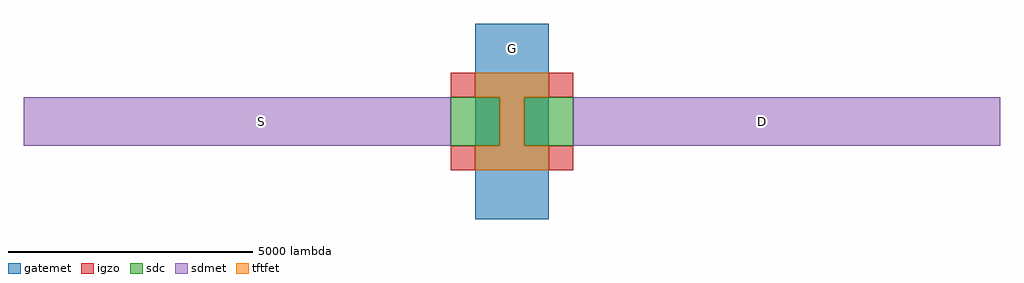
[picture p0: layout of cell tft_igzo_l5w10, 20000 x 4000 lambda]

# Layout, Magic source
magic
tech igzo_mmm_lab
<< igzo >>
rect -1250 500 -750 1000
rect 750 500 1250 1000
rect -1250 -1000 -750 -500
rect 750 -1000 1250 -500
<< tftfet >>
rect -750 500 750 1000
rect -250 -500 250 500
rect -750 -1000 750 -500
<< sdc >>
rect -1250 -500 -250 500
rect 250 -500 1250 500
<< sdmet >>
rect -10000 -500 -1250 500
rect 1250 -500 10000 500
<< gatemet >>
rect -750 -2000 750 2000
<< labels >>
rlabel sdmet s -5175 -50 -5075 50 4 S
port 3 nsew
rlabel sdmet s 5075 -50 5175 50 4 D
port 5 nsew
rlabel gatemet s -50 1450 50 1550 4 G
port 7 nsew
<< end >>
